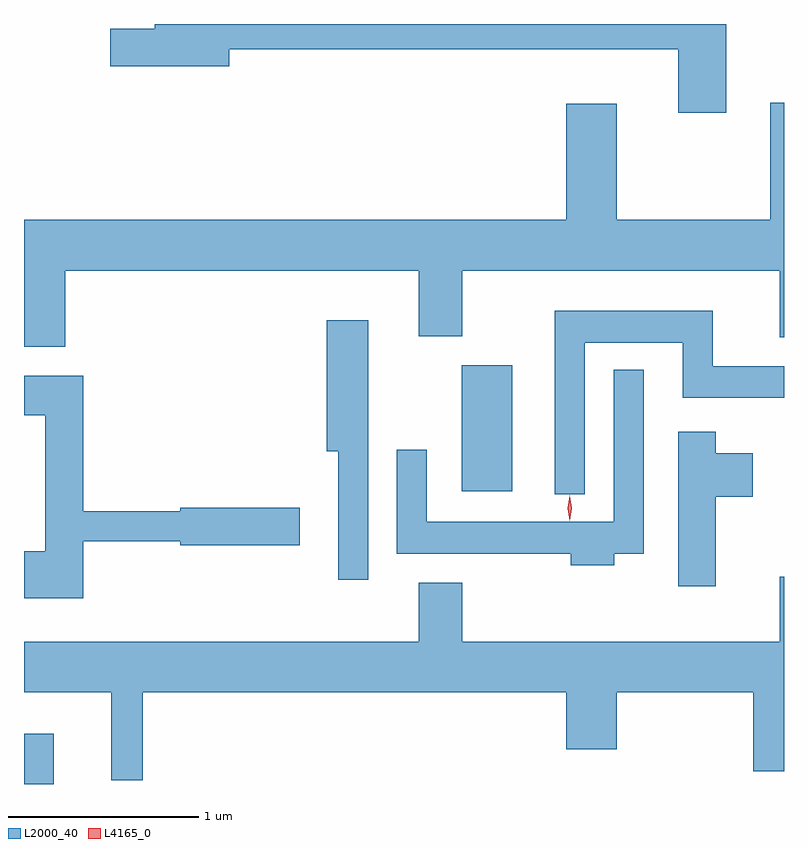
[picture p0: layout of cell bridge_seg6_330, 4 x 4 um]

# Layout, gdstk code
import gdstk
lib = gdstk.Library(unit=1e-6, precision=1e-09)
def R(c, l, rs):  # rectangles x0, y0, x1, y1
    for r in rs: c.add(gdstk.rectangle(r[:2], r[2:], *l))
def P(c, l, *ps):  # polygons
    for p in ps: c.add(gdstk.Polygon(p, *l))
L2000_40 = (2000, 40)
L4165_0 = (4165, 0)

bridge_seg6_330 = lib.new_cell('bridge_seg6_330')
R(bridge_seg6_330, L2000_40, [(1271.163,1538.454,1271.319,1538.718), (1273.466,1539.996,1273.734,1540.659)])
P(bridge_seg6_330, L2000_40, [(1274.859,1542.454),(1271.851,1542.454),(1271.851,1542.429),(1271.616,1542.429),(1271.616,1542.231),(1272.244,1542.231),(1272.244,1542.321),(1274.606,1542.321),(1274.606,1541.986),(1274.859,1541.986)],
  [(1271.379,1541.156),(1273.241,1541.156),(1273.241,1540.811),(1273.469,1540.811),(1273.469,1541.156),(1275.141,1541.156),(1275.141,1540.806),(1275.163,1540.806),(1275.163,1542.039),(1275.091,1542.039),(1275.091,1541.424),(1274.284,1541.424),(1274.284,1542.034),(1274.016,1542.034),(1274.016,1541.424),(1271.163,1541.424),(1271.163,1540.756),(1271.379,1540.756)],
  [(1274.114,1540.776),(1274.631,1540.776),(1274.631,1540.486),(1275.163,1540.486),(1275.163,1540.654),(1274.789,1540.654),(1274.789,1540.944),(1273.956,1540.944),(1273.956,1539.978),(1274.114,1539.978)],
  [(1272.974,1540.894),(1272.756,1540.894),(1272.756,1540.206),(1272.816,1540.206),(1272.816,1539.528),(1272.974,1539.528)],
  [(1274.269,1539.666),(1274.424,1539.666),(1274.424,1540.633),(1274.266,1540.633),(1274.266,1539.834),(1273.284,1539.834),(1273.284,1540.213),(1273.126,1540.213),(1273.126,1539.666),(1274.041,1539.666),(1274.041,1539.606),(1274.269,1539.606)],
  [(1271.474,1539.731),(1271.986,1539.731),(1271.986,1539.711),(1272.614,1539.711),(1272.614,1539.909),(1271.986,1539.909),(1271.986,1539.889),(1271.474,1539.889),(1271.474,1540.604),(1271.163,1540.604),(1271.163,1540.396),(1271.276,1540.396),(1271.276,1539.679),(1271.163,1539.679),(1271.163,1539.431),(1271.474,1539.431)],
  [(1274.804,1539.966),(1274.999,1539.966),(1274.999,1540.194),(1274.804,1540.194),(1274.804,1540.309),(1274.606,1540.309),(1274.606,1539.496),(1274.804,1539.496)],
  [(1271.789,1538.936),(1274.016,1538.936),(1274.016,1538.636),(1274.284,1538.636),(1274.284,1538.936),(1275.001,1538.936),(1275.001,1538.521),(1275.163,1538.521),(1275.163,1539.544),(1275.141,1539.544),(1275.141,1539.204),(1273.469,1539.204),(1273.469,1539.514),(1273.241,1539.514),(1273.241,1539.204),(1271.163,1539.204),(1271.163,1538.936),(1271.621,1538.936),(1271.621,1538.473),(1271.789,1538.473)])
P(bridge_seg6_330, L4165_0, [(1274.036,1539.839),(1274.035,1539.84),(1274.025,1539.906),(1274.035,1539.972),(1274.035,1539.973),(1274.036,1539.972),(1274.045,1539.906),(1274.036,1539.84)])

lib.write_gds('bridge_seg6_330.gds')
